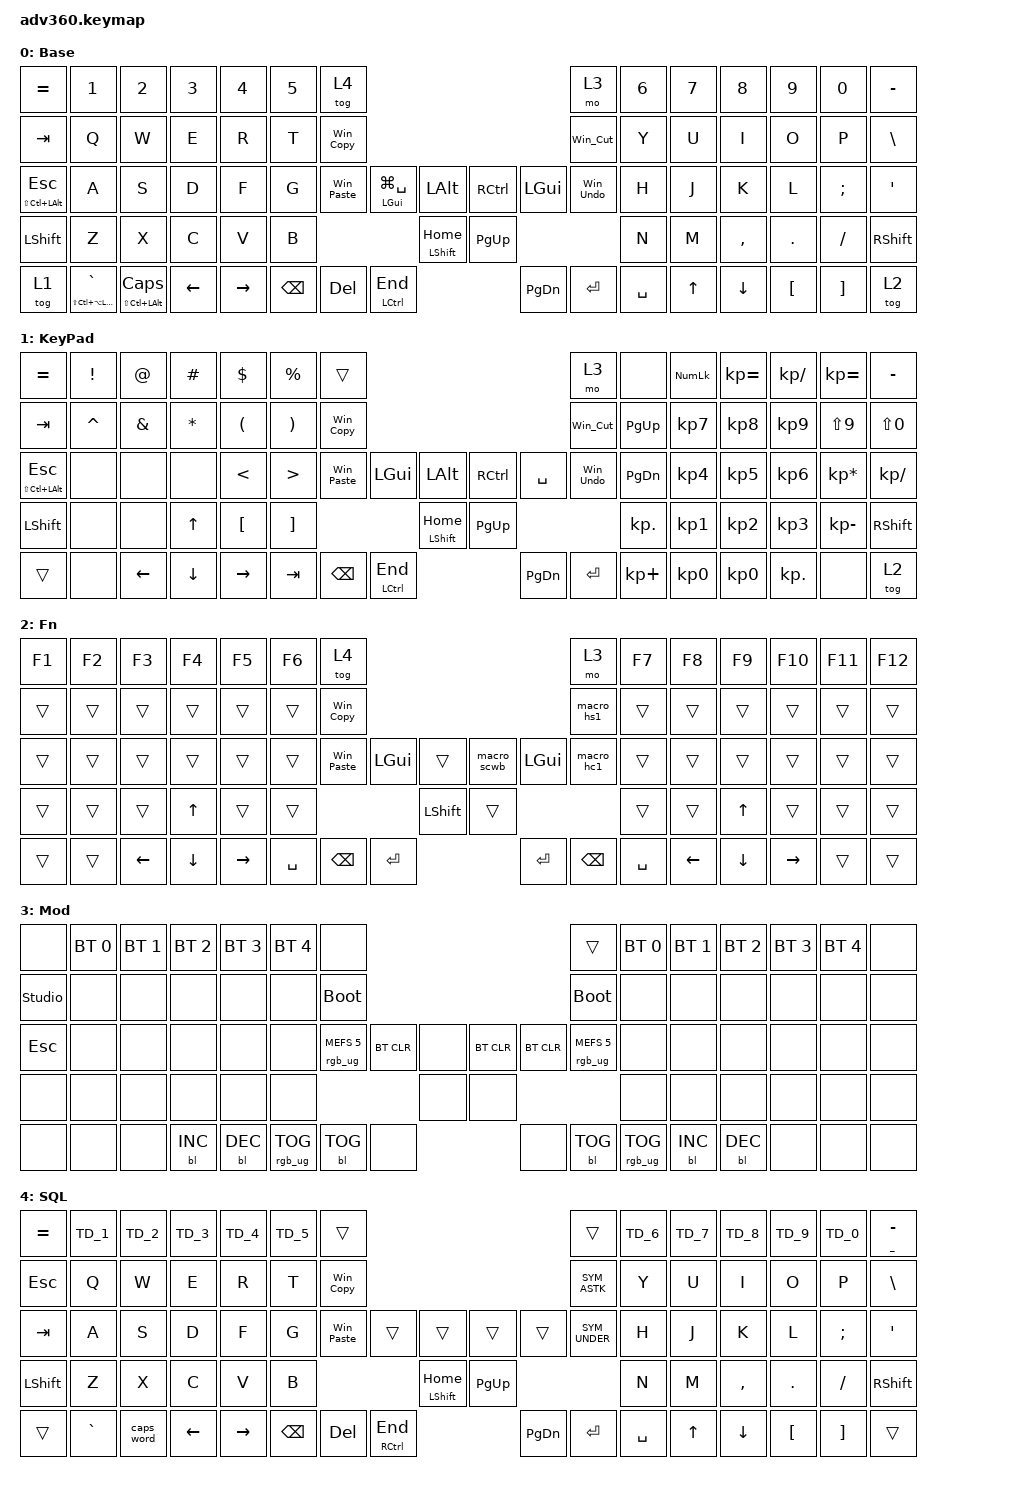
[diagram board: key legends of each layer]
#include <behaviors.dtsi>
#include <dt-bindings/zmk/keys.h>
#include <dt-bindings/zmk/bt.h>
#include <dt-bindings/zmk/rgb.h>
#include <dt-bindings/zmk/stp.h>
#include <dt-bindings/zmk/backlight.h>
#include <dt-bindings/zmk/pointing.h>



#define HYP LS(LC(LA(LGUI)))

#define HYPER(key) LS(LC(LA(LG(key))))

#define CRALS LS(LC(LALT))


/ {
    behaviors {
      #include "macros.dtsi"
      #include "version.dtsi"

      hm: homerow_mods {
          compatible = "zmk,behavior-hold-tap";
          label = "HOMEROW_MODS";
          #binding-cells = <2>;
          tapping-term-ms = <200>;
          quick_tap_ms = <175>;
          flavor = "tap-preferred";
          bindings = <&kp>, <&kp>;
      };
        TD_1: TD_1 {
            compatible = "zmk,behavior-tap-dance";
            label = "TD_1";
            #binding-cells = <0>;
            bindings = <&kp N1>, <&kp EXCLAMATION>;

            tapping-term-ms = <300>;
        };

        TD_2: TD_2 {
            compatible = "zmk,behavior-tap-dance";
            label = "TD_2";
            #binding-cells = <0>;
            bindings = <&kp NUMBER_2>, <&kp AT_SIGN>;

            tapping-term-ms = <300>;
        };

        TD_3: TD_3 {
            compatible = "zmk,behavior-tap-dance";
            label = "TD_3";
            #binding-cells = <0>;
            bindings = <&kp NUMBER_3>, <&kp HASH>;

            tapping-term-ms = <300>;
        };

        TD_4: TD_4 {
            compatible = "zmk,behavior-tap-dance";
            label = "TD_4";
            #binding-cells = <0>;
            bindings = <&kp NUMBER_4>, <&kp DOLLAR>;

            tapping-term-ms = <300>;
        };

        TD_5: TD_5 {
            compatible = "zmk,behavior-tap-dance";
            label = "TD_5";
            #binding-cells = <0>;
            bindings = <&kp NUMBER_5>, <&kp PERCENT>;

            tapping-term-ms = <300>;
        };

        TD_6: TD_6 {
            compatible = "zmk,behavior-tap-dance";
            label = "TD_6";
            #binding-cells = <0>;
            bindings = <&kp NUMBER_6>, <&kp LCTRL>;

            tapping-term-ms = <300>;
        };

        TD_7: TD_7 {
            compatible = "zmk,behavior-tap-dance";
            label = "TD_7";
            #binding-cells = <0>;
            bindings = <&kp NUMBER_7>, <&kp AMPERSAND>;

            tapping-term-ms = <300>;
        };

        TD_8: TD_8 {
            compatible = "zmk,behavior-tap-dance";
            label = "TD_8";
            #binding-cells = <0>;
            bindings = <&kp NUMBER_8>, <&kp ASTERISK>;

            tapping-term-ms = <300>;
        };

        TD_9: TD_9 {
            compatible = "zmk,behavior-tap-dance";
            label = "TD_9";
            #binding-cells = <0>;
            bindings = <&kp NUMBER_9>, <&kp LEFT_PARENTHESIS>;

            tapping-term-ms = <300>;
        };

        TD_0: TD_0 {
            compatible = "zmk,behavior-tap-dance";
            label = "TD_0";
            #binding-cells = <0>;
            bindings = <&kp NUMBER_0>, <&kp RIGHT_PARENTHESIS>;

            tapping-term-ms = <300>;
        };

        SYM_ASTK: SYM_ASTK {
            compatible = "zmk,behavior-tap-dance";
            label = "SYM_ASTK";
            #binding-cells = <0>;
            bindings = <&kp ASTERISK>, <&kp SLASH>;

            tapping-term-ms = <300>;
        };

        SYM_UNDER: SYM_UNDER {
            compatible = "zmk,behavior-tap-dance";
            label = "SYM_UNDER";
            #binding-cells = <0>;
            bindings = <&kp UNDERSCORE>, <&kp BACKSLASH>;

            tapping-term-ms = <300>;
        };
    };

  keymap {
    compatible = "zmk,keymap";

/*layer1*/
    default_layer {
		display-name = "Base";
            bindings = <
			&kp EQUAL      &kp N1         &kp N2          &kp N3    &kp N4     &kp N5  &tog 4                                                                                    &mo 3        &kp N6  &kp N7  &kp N8     &kp N9    &kp N0    &kp MINUS
			&kp TAB        &kp Q          &kp W           &kp E     &kp R      &kp T   &Win_Copy                                                                                 &Win_Cut     &kp Y   &kp U   &kp I      &kp O     &kp P     &kp BSLH
			&mt CRALS ESC  &kp A          &kp S           &kp D     &kp F      &kp G   &Win_Paste           &mt LGUI LG(SPACE)  &kp LALT         &kp RCTRL  &kp LGUI             &Win_Undo    &kp H   &kp J   &kp K      &kp L     &kp SEMI  &kp SQT
			&kp LSHFT      &kp Z          &kp X           &kp C     &kp V      &kp B                                            &mt LSHFT HOME   &kp PG_UP                                    &kp N   &kp M   &kp COMMA  &kp DOT   &kp FSLH  &kp RSHFT
			&tog 1         &mt HYP GRAVE  &mt CRALS CAPS  &kp LEFT  &kp RIGHT                     &kp BSPC  &kp DEL             &mt LCTRL END    &kp PG_DN  &kp ENTER  &kp SPACE                      &kp UP  &kp DOWN   &kp LBKT  &kp RBKT  &tog 2
            >;
        };

/*layer1*/
    keypad {
		display-name = "KeyPad";
            bindings = <
			&kp EQUAL      &kp EXCL   &kp AT    &kp POUND  &kp DLLR   &kp PRCNT  &trans                                                                            &mo 3        &none       &kp KP_NUM  &kp KP_EQUAL  &kp KP_DIVIDE  &kp KP_EQUAL     &kp MINUS
			&kp TAB        &kp CARET  &kp AMPS  &kp ASTRK  &kp LPAR   &kp RPAR   &Win_Copy                                                                         &Win_Cut     &kp PG_UP   &kp KP_N7   &kp KP_N8     &kp KP_N9      &kp LS(N9)       &kp LS(N0)
			&mt CRALS ESC  &none      &none     &none      &kp LT     &kp GT     &Win_Paste          &kp LGUI  &kp LALT         &kp RCTRL  &kp SPACE               &Win_Undo    &kp PG_DN   &kp KP_N4   &kp KP_N5     &kp KP_N6      &kp KP_MULTIPLY  &kp KP_DIVIDE
			&kp LSHFT      &none      &none     &kp UP     &kp LBKT   &kp RBKT                                 &mt LSHFT HOME   &kp PG_UP                                       &kp KP_DOT  &kp KP_N1   &kp KP_N2     &kp KP_N3      &kp KP_MINUS     &kp RSHFT
			&trans         &none      &kp LEFT  &kp DOWN   &kp RIGHT                        &kp TAB  &kp BSPC  &mt LCTRL END    &kp PG_DN  &kp ENTER   &kp KP_PLUS                          &kp KP_N0   &kp KP_N0     &kp KP_DOT     &none            &tog 2
            >;
        };

/*layer2*/
    fn {
		display-name = "Fn";
            bindings = <
			&kp F1  &kp F2  &kp F3    &kp F4    &kp F5     &kp F6  &tog 4                                                                          &mo 3       &kp F7  &kp F8    &kp F9    &kp F10    &kp F11  &kp F12
			&trans  &trans  &trans    &trans    &trans     &trans  &Win_Copy                                                                       &macro_hs1  &trans  &trans    &trans    &trans     &trans   &trans
			&trans  &trans  &trans    &trans    &trans     &trans  &Win_Paste               &kp LGUI  &trans      &macro_scwb  &kp LGUI            &macro_hc1  &trans  &trans    &trans    &trans     &trans   &trans
			&trans  &trans  &trans    &kp UP    &trans     &trans                                     &kp LSHFT   &trans                                       &trans  &trans    &kp UP    &trans     &trans   &trans
			&trans  &trans  &kp LEFT  &kp DOWN  &kp RIGHT                     &kp SPACE     &kp BSPC  &kp ENTER   &kp ENTER    &kp BSPC  &kp SPACE                     &kp LEFT  &kp DOWN  &kp RIGHT  &trans   &trans
            >;
        };

/*layer3*/
    mod {
		display-name = "Mod";
            bindings = <
			&none           &bt BT_SEL 0  &bt BT_SEL 1  &bt BT_SEL 2  &bt BT_SEL 3  &bt BT_SEL 4  &none                                                                                                  &trans                  &bt BT_SEL 0  &bt BT_SEL 1  &bt BT_SEL 2  &bt BT_SEL 3  &bt BT_SEL 4  &none
			&studio_unlock  &none         &none         &none         &none         &none         &bootloader                                                                                            &bootloader             &none         &none         &none         &none         &none         &none
			&kp ESC         &none         &none         &none         &none         &none         &rgb_ug RGB_MEFS_CMD 5                  &bt BT_CLR  &none      &bt BT_CLR  &bt BT_CLR                  &rgb_ug RGB_MEFS_CMD 5  &none         &none         &none         &none         &none         &none
			&none           &none         &none         &none         &none         &none                                                             &none      &none                                                           &none         &none         &none         &none         &none         &none
			&none           &none         &none         &bl BL_INC    &bl BL_DEC                                         &rgb_ug RGB_TOG  &bl BL_TOG  &none      &none       &bl BL_TOG  &rgb_ug RGB_TOG                                       &bl BL_INC    &bl BL_DEC    &none         &none         &none
            >;
        };

/*layer4*/
    sql {
		display-name = "SQL";
            bindings = <
			&kp EQUAL  &TD_1      &TD_2       &TD_3     &TD_4      &TD_5  &trans                                                                         &trans      &TD_6  &TD_7   &TD_8      &TD_9     &TD_0      &mt UNDERSCORE MINUS
			&kp ESC    &kp Q      &kp W       &kp E     &kp R      &kp T  &Win_Copy                                                                      &SYM_ASTK   &kp Y  &kp U   &kp I      &kp O     &kp P      &kp BSLH
			&kp TAB    &kp A      &kp S       &kp D     &kp F      &kp G  &Win_Paste            &trans   &trans            &trans     &trans             &SYM_UNDER  &kp H  &kp J   &kp K      &kp L     &kp SEMI   &kp SQT
			&kp LSHFT  &kp Z      &kp X       &kp C     &kp V      &kp B                                 &mt LSHIFT HOME   &kp PG_UP                                 &kp N  &kp M   &kp COMMA  &kp DOT   &kp SLASH  &kp RIGHT_SHIFT
			&trans     &kp GRAVE  &caps_word  &kp LEFT  &kp RIGHT                    &kp BSPC   &kp DEL  &mt RCTRL END     &kp PG_DN  &kp RET  &kp SPACE                    &kp UP  &kp DOWN   &kp LBKT  &kp RBKT   &trans
            >;
        };
		
    extra1 { 
      display-name = "Red";    
      status = "reserved";
    };

    extra2 { 
      display-name = "Purple";    
      status = "reserved";
    };

    extra3 { 
      display-name = "Cyan";    
      status = "reserved";
    };

    extra4 { 
      display-name = "Yellow";    
      status = "reserved";
    };
  };
};

